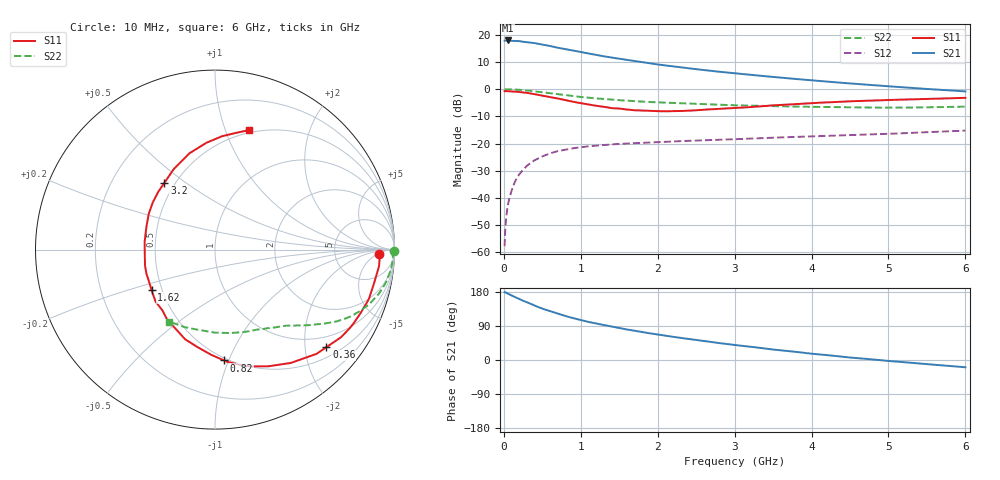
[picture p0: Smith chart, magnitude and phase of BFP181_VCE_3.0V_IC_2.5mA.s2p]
! Infineon Technologies  Discrete & RF Semiconductors
! BFP181
! VCE = 3.0 V,  IC =  2.5 mA
! Common Emitter S-Parameters:  Jan 2016
# GHz  S  MA  R  50
!  f  S11  S21  S12  S22
! GHz  MAG  ANG  MAG  ANG  MAG  ANG  MAG  ANG
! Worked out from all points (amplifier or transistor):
!   210 points, 10 MHz to 6 GHz, reference 50 ohm
!   highest |S21| = 17.9 dB at 50 MHz (marker M1)
!   |S21| within 3 dB of that: start of sweep to 768.1 MHz
!   unconditionally stable (mu >= 1): 2.252 GHz to end of sweep
!   at 185 MHz: K = 0.13, MSG = 24.8 dB, |S12| = -32.0 dB
!   at 1.52 GHz: K = 0.75, MSG = 15.6 dB, |S12| = -20.1 dB
!   at 6 GHz: K = 1.12, MAG = 5.1 dB, |S12| = -15.3 dB
!   S11 on the Smith chart (normalised r, x): 10 MHz: 21, -6; 360 MHz: 0.73, -2.48; 820 MHz: 0.48, -0.96; 1.62 GHz: 0.44, -0.24; 3.2 GHz: 0.44, +0.42; 6 GHz: 0.47, +1.21
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0.01  0.9161 -1.4  7.784 179.1  0.0013 82.3  0.9966 -0.5
0.025  0.919 -2.7  7.777 178.0  0.0036 89.2  0.9909 -1.3
0.05  0.9184 -5.9  7.84 175.2  0.0071 89.7  0.9924 -2.7
0.115  0.9033 -13.7  7.692 169.1  0.0156 80.3  0.9862 -6.1
0.2  0.8852 -23.5  7.629 161.0  0.0271 75.2  0.9712 -10.5
0.36  0.8251 -41.2  7.102 147.1  0.0451 66.0  0.9247 -17.7
0.4  0.811 -45.7  7.007 143.3  0.0493 63.9  0.9122 -19.5
0.46  0.7772 -51.8  6.739 138.7  0.0545 60.5  0.8897 -21.7
0.58  0.7224 -63.5  6.274 130.1  0.0644 54.6  0.8473 -25.7
0.7  0.6741 -74.9  5.764 122.2  0.0725 50.1  0.806 -29.1
0.82  0.6198 -85.3  5.393 114.9  0.0782 45.6  0.7688 -31.8
1.02  0.5464 -101.6  4.743 104.5  0.086 40.1  0.7132 -35.6
1.1  0.5263 -108.5  4.535 100.4  0.0892 38.3  0.695 -36.9
1.3  0.4754 -123.7  4.007 92.2  0.094 34.5  0.6583 -39.8
1.62  0.4186 -147.6  3.398 79.9  0.1005 30.5  0.6124 -43.8
2.02  0.3928 -174.9  2.816 66.7  0.1067 27.4  0.5701 -48.5
2.4  0.402 162.4  2.418 55.5  0.1122 24.9  0.5417 -53.5
3.1  0.4583 130.7  1.897 37.3  0.1216 22.1  0.5007 -63.5
3.2  0.4671 127.1  1.837 35.1  0.1232 21.7  0.4969 -65.1
4.1  0.5622 102.6  1.413 14.8  0.1369 18.2  0.4696 -81.5
5.1  0.6368 85.3  1.102 -4.1  0.1527 15.2  0.4568 -102.7
6  0.6916 74.2  0.908 -19.2  0.1727 11.4  0.4755 -122.5
